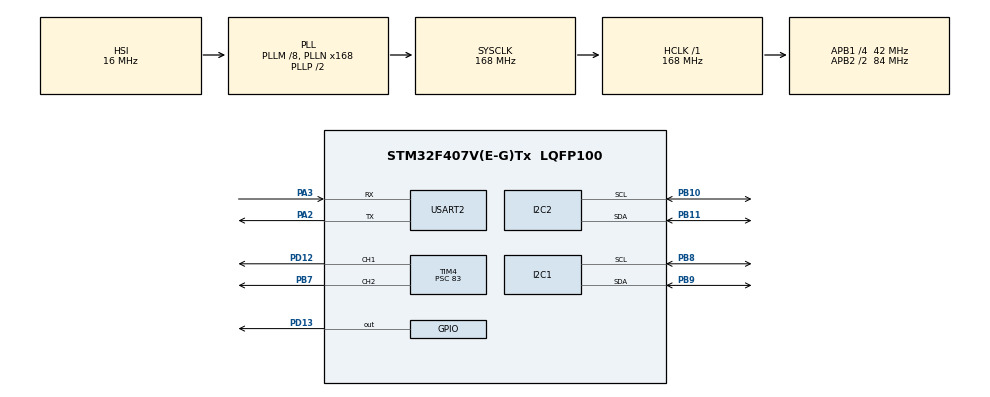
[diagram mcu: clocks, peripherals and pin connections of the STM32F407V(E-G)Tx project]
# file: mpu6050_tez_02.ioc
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I2C1.DutyCycle=I2C_DUTYCYCLE_16_9
I2C1.I2C_Mode=I2C_Fast
I2C2.DutyCycle=I2C_DUTYCYCLE_16_9
I2C2.I2C_Mode=I2C_Fast
Mcu.Family=STM32F4
Mcu.Name=STM32F407V(E-G)Tx
Mcu.Package=LQFP100
NVIC.PriorityGroup=NVIC_PRIORITYGROUP_0
PA13.Mode=Serial_Wire
PA13.Signal=SYS_JTMS-SWDIO
PA14.Mode=Serial_Wire
PA14.Signal=SYS_JTCK-SWCLK
PA2.Mode=Asynchronous
PA2.Signal=USART2_TX
PA3.Mode=Asynchronous
PA3.Signal=USART2_RX
PB10.Mode=I2C
PB10.Signal=I2C2_SCL
PB11.Mode=I2C
PB11.Signal=I2C2_SDA
PB7.Signal=S_TIM4_CH2
PB8.Mode=I2C
PB8.Signal=I2C1_SCL
PB9.Mode=I2C
PB9.Signal=I2C1_SDA
PD12.Signal=S_TIM4_CH1
PD13.Signal=GPIO_Output
PH0-OSC_IN.Mode=HSE-External-Oscillator
PH0-OSC_IN.Signal=RCC_OSC_IN
PH1-OSC_OUT.Mode=HSE-External-Oscillator
PH1-OSC_OUT.Signal=RCC_OSC_OUT
ProjectManager.HeapSize=0x200
ProjectManager.StackSize=0x400
ProjectManager.TargetToolchain=STM32CubeIDE
RCC.48MHZClocksFreq_Value=48000000
RCC.AHBFreq_Value=168000000
RCC.APB1CLKDivider=RCC_HCLK_DIV4
RCC.APB1Freq_Value=42000000
RCC.APB1TimFreq_Value=84000000
RCC.APB2CLKDivider=RCC_HCLK_DIV2
RCC.APB2Freq_Value=84000000
RCC.APB2TimFreq_Value=168000000
RCC.CortexFreq_Value=168000000
RCC.HCLKFreq_Value=168000000
RCC.HSE_VALUE=8000000
RCC.HSI_VALUE=16000000
RCC.LSE_VALUE=32768
RCC.PLLM=8
RCC.PLLN=168
RCC.PLLQ=7
RCC.SYSCLKFreq_VALUE=168000000
RCC.SYSCLKSource=RCC_SYSCLKSOURCE_PLLCLK
RCC.VCOOutputFreq_Value=336000000
SH.S_TIM4_CH1.0=TIM4_CH1,PWM Generation1 CH1
SH.S_TIM4_CH2.0=TIM4_CH2,PWM Generation2 CH2
TIM4.Channel-PWM\ Generation1\ CH1=TIM_CHANNEL_1
TIM4.Channel-PWM\ Generation2\ CH2=TIM_CHANNEL_2
TIM4.Period=19999
TIM4.Prescaler=83
USART2.VirtualMode=VM_ASYNC
board=STM32F407G-DISC1

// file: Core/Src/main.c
/* USER CODE BEGIN Header */
/**
  ******************************************************************************
  * @file           : main.c
  * @brief          : Main program body
  ******************************************************************************
  * @attention
  *
  * Copyright (c) 2022 STMicroelectronics.
  * All rights reserved.
  *
  * This software is licensed under terms that can be found in the LICENSE file
  * in the root directory of this software component.
  * If no LICENSE file comes with this software, it is provided AS-IS.
  *
  ******************************************************************************
  */
/* USER CODE END Header */
#include "main.h"

/* USER CODE BEGIN Includes */
#include "MPU6050.h"
#include <math.h>
/* USER CODE END Includes */

I2C_HandleTypeDef hi2c1;
I2C_HandleTypeDef hi2c2;

TIM_HandleTypeDef htim4;

UART_HandleTypeDef huart2;

/* USER CODE BEGIN PV */
uint32_t MAP(uint32_t au32_IN, uint32_t au32_INmin, uint32_t au32_INmax, uint32_t au32_OUTmin, uint32_t au32_OUTmax);
float cax, cay, caz, cgx, cgy, cgz;
int16_t ax, ay, az, gx, gy, gz, temp;
float temperature, gyro_roll, gyro_pitch, acc_roll, acc_pitch, acc_total_vector, angle_roll, angle_pitch;
float time, prevtime, elapsedtime;
int pulse;

float cax_2, cay_2, caz_2, cgx_2, cgy_2, cgz_2;
int16_t ax_2, ay_2, az_2, gx_2, gy_2, gz_2, temp_2;
float temperature_2, gyro_roll_2, gyro_pitch_2, acc_roll_2, acc_pitch_2, acc_total_vector_2, angle_roll_2, angle_pitch_2;
float time_2, prevtime_2, elapsedtime_2;
int pulse_2;
/* USER CODE END PV */

void SystemClock_Config(void);
static void MX_GPIO_Init(void);
static void MX_I2C1_Init(void);
static void MX_USART2_UART_Init(void);
static void MX_TIM4_Init(void);
static void MX_I2C2_Init(void);

int main(void)
{

  /* MCU Configuration--------------------------------------------------------*/

  /* Reset of all peripherals, Initializes the Flash interface and the Systick. */
  HAL_Init();

  /* Configure the system clock */
  SystemClock_Config();

  /* Initialize all configured peripherals */
  MX_GPIO_Init();
  MX_I2C1_Init();
  MX_USART2_UART_Init();
  MX_TIM4_Init();
  MX_I2C2_Init();
  /* USER CODE BEGIN 2 */
  Init(FS_SEL_500, AFS_SEL_8G, DLPF_CFG_3); // Temel ayarlamalar yapiliir. Jiroskop, ivmeölçer hassasiyeti ve filtre değeri
   Imu_Calibration(2000, &cax, &cay, &caz, &cgx, &cgy, &cgz); // kalibrasyon fonksiyonudur 2000 ölçüm yaparak ortalamasi alinir, duz zeminde yapilmasi tavsiye edilir.
   Init(FS_SEL_500, AFS_SEL_8G, DLPF_CFG_3); // Temel ayarlamalar yapiliir. Jiroskop, ivmeölçer hassasiyeti ve filtre değeri
     Imu_Calibration(2000, &cax_2, &cay_2, &caz_2, &cgx_2, &cgy_2, &cgz_2); // kalibrasyon fonksiyonudur 2000 ölçüm yaparak ortalamasi alinir, duz zeminde yapilmasi tavsiye edilir.
    HAL_TIM_PWM_Start(&htim4, TIM_CHANNEL_1);
    HAL_TIM_PWM_Start(&htim4, TIM_CHANNEL_2);
  /* USER CODE END 2 */

  /* Infinite loop */
  while (1)
  {

    /* USER CODE BEGIN 3 */

	  //Dongu baslangici ile zaman sayimina baslayan fonksiyonlardir, while dongusunun altinda diger kisimi bulunmaktadir.
	  	  prevtime = time;
	  	  time = HAL_GetTick();
	  	  elapsedtime=(time-prevtime)*1000;

	  	  //ham verileri elde etme
	  	  Imu_Raw_Values(&ax, &ay, &az, &gx, &gy, &gz, &temp);
	  	Imu_Raw_Values2(&ax_2, &ay_2, &az_2, &gx_2, &gy_2, &gz_2, &temp_2);

	  	  //gyro acilari elde etme
	  	  gyro_roll += (gx-cgx)*0.004; //4000 us == 0.004 saniye --> derece/saniye
	  	  gyro_pitch += (gy-cgy)*0.004;

	  	 gyro_roll_2 += (gx_2-cgx_2)*0.004; //4000 us == 0.004 saniye --> derece/saniye
	     gyro_pitch_2 += (gy_2-cgy_2)*0.004;
	  	  //ivmeolcer verilerinden aci elde etme - euler acilari
	  	  acc_total_vector = sqrt(ax*ax + ay*ay + az*az);
	  	 acc_total_vector_2 = sqrt(ax_2*ax_2 + ay_2*ay_2 + az_2*az_2);
	  	  //57.296 = 1 / (3.142 / 180)
	  	  acc_pitch = asin((float)ay / acc_total_vector) * 57.296;
	  	  acc_roll = asin((float)ax / acc_total_vector) * 57.296;

	  	acc_pitch_2 = asin((float)ay_2 / acc_total_vector_2) * 57.296;
	  		  	  acc_roll_2 = asin((float)ax_2 / acc_total_vector_2) * 57.296;
	  	  //ilkel tamamlayici filtre toplam kisimi
	  	  angle_pitch = angle_pitch * 0.9 + acc_pitch * 0.1;
	  	  angle_roll = angle_roll * 0.9 + acc_roll * 0.1;

		  angle_pitch_2 = angle_pitch_2 * 0.9 + acc_pitch_2 * 0.1;
		  	  angle_roll_2 = angle_roll_2 * 0.9 + acc_roll_2 * 0.1;
	  	  //sicaklik hesabi-formulsayon datasheet icerisinde mevcuttur
	  	  temperature = (temp/340.0)+36.53;
		  temperature_2 = (temp_2/340.0)+36.53;
     HAL_GPIO_WritePin(GPIOD, GPIO_PIN_13, GPIO_PIN_SET);
	  	  //tek dongu suresini 4000 us degerine sabitleyen blok
	  	  while((HAL_GetTick() - prevtime)*1000 < 4000);
	  	  prevtime = HAL_GetTick();
	pulse 	=  MAP(angle_pitch, 0, 90, 500, 2000);
	  __HAL_TIM_SET_COMPARE(&htim4,TIM_CHANNEL_1,pulse);
  }
  /* USER CODE END 3 */
}

void SystemClock_Config(void)
{
  RCC_OscInitTypeDef RCC_OscInitStruct = {0};
  RCC_ClkInitTypeDef RCC_ClkInitStruct = {0};

  /** Configure the main internal regulator output voltage
  */
  __HAL_RCC_PWR_CLK_ENABLE();
  __HAL_PWR_VOLTAGESCALING_CONFIG(PWR_REGULATOR_VOLTAGE_SCALE1);

  /** Initializes the RCC Oscillators according to the specified parameters
  * in the RCC_OscInitTypeDef structure.
  */
  RCC_OscInitStruct.OscillatorType = RCC_OSCILLATORTYPE_HSI;
  RCC_OscInitStruct.HSIState = RCC_HSI_ON;
  RCC_OscInitStruct.HSICalibrationValue = RCC_HSICALIBRATION_DEFAULT;
  RCC_OscInitStruct.PLL.PLLState = RCC_PLL_ON;
  RCC_OscInitStruct.PLL.PLLSource = RCC_PLLSOURCE_HSI;
  RCC_OscInitStruct.PLL.PLLM = 8;
  RCC_OscInitStruct.PLL.PLLN = 168;
  RCC_OscInitStruct.PLL.PLLP = RCC_PLLP_DIV2;
  RCC_OscInitStruct.PLL.PLLQ = 7;
  if (HAL_RCC_OscConfig(&RCC_OscInitStruct) != HAL_OK)
  {
    Error_Handler();
  }

  /** Initializes the CPU, AHB and APB buses clocks
  */
  RCC_ClkInitStruct.ClockType = RCC_CLOCKTYPE_HCLK|RCC_CLOCKTYPE_SYSCLK
                              |RCC_CLOCKTYPE_PCLK1|RCC_CLOCKTYPE_PCLK2;
  RCC_ClkInitStruct.SYSCLKSource = RCC_SYSCLKSOURCE_PLLCLK;
  RCC_ClkInitStruct.AHBCLKDivider = RCC_SYSCLK_DIV1;
  RCC_ClkInitStruct.APB1CLKDivider = RCC_HCLK_DIV4;
  RCC_ClkInitStruct.APB2CLKDivider = RCC_HCLK_DIV2;

  if (HAL_RCC_ClockConfig(&RCC_ClkInitStruct, FLASH_LATENCY_5) != HAL_OK)
  {
    Error_Handler();
  }
}

static void MX_I2C1_Init(void)
{

  hi2c1.Instance = I2C1;
  hi2c1.Init.ClockSpeed = 400000;
  hi2c1.Init.DutyCycle = I2C_DUTYCYCLE_16_9;
  hi2c1.Init.OwnAddress1 = 0;
  hi2c1.Init.AddressingMode = I2C_ADDRESSINGMODE_7BIT;
  hi2c1.Init.DualAddressMode = I2C_DUALADDRESS_DISABLE;
  hi2c1.Init.OwnAddress2 = 0;
  hi2c1.Init.GeneralCallMode = I2C_GENERALCALL_DISABLE;
  hi2c1.Init.NoStretchMode = I2C_NOSTRETCH_DISABLE;
  if (HAL_I2C_Init(&hi2c1) != HAL_OK)
  {
    Error_Handler();
  }

}

static void MX_I2C2_Init(void)
{

  hi2c2.Instance = I2C2;
  hi2c2.Init.ClockSpeed = 400000;
  hi2c2.Init.DutyCycle = I2C_DUTYCYCLE_16_9;
  hi2c2.Init.OwnAddress1 = 0;
  hi2c2.Init.AddressingMode = I2C_ADDRESSINGMODE_7BIT;
  hi2c2.Init.DualAddressMode = I2C_DUALADDRESS_DISABLE;
  hi2c2.Init.OwnAddress2 = 0;
  hi2c2.Init.GeneralCallMode = I2C_GENERALCALL_DISABLE;
  hi2c2.Init.NoStretchMode = I2C_NOSTRETCH_DISABLE;
  if (HAL_I2C_Init(&hi2c2) != HAL_OK)
  {
    Error_Handler();
  }

}

static void MX_TIM4_Init(void)
{

  TIM_MasterConfigTypeDef sMasterConfig = {0};
  TIM_OC_InitTypeDef sConfigOC = {0};

  htim4.Instance = TIM4;
  htim4.Init.Prescaler = 83;
  htim4.Init.CounterMode = TIM_COUNTERMODE_UP;
  htim4.Init.Period = 19999;
  htim4.Init.ClockDivision = TIM_CLOCKDIVISION_DIV1;
  htim4.Init.AutoReloadPreload = TIM_AUTORELOAD_PRELOAD_DISABLE;
  if (HAL_TIM_PWM_Init(&htim4) != HAL_OK)
  {
    Error_Handler();
  }
  sMasterConfig.MasterOutputTrigger = TIM_TRGO_RESET;
  sMasterConfig.MasterSlaveMode = TIM_MASTERSLAVEMODE_DISABLE;
  if (HAL_TIMEx_MasterConfigSynchronization(&htim4, &sMasterConfig) != HAL_OK)
  {
    Error_Handler();
  }
  sConfigOC.OCMode = TIM_OCMODE_PWM1;
  sConfigOC.Pulse = 0;
  sConfigOC.OCPolarity = TIM_OCPOLARITY_HIGH;
  sConfigOC.OCFastMode = TIM_OCFAST_DISABLE;
  if (HAL_TIM_PWM_ConfigChannel(&htim4, &sConfigOC, TIM_CHANNEL_1) != HAL_OK)
  {
    Error_Handler();
  }
  if (HAL_TIM_PWM_ConfigChannel(&htim4, &sConfigOC, TIM_CHANNEL_2) != HAL_OK)
  {
    Error_Handler();
  }
  HAL_TIM_MspPostInit(&htim4);

}

static void MX_USART2_UART_Init(void)
{

  huart2.Instance = USART2;
  huart2.Init.BaudRate = 115200;
  huart2.Init.WordLength = UART_WORDLENGTH_8B;
  huart2.Init.StopBits = UART_STOPBITS_1;
  huart2.Init.Parity = UART_PARITY_NONE;
  huart2.Init.Mode = UART_MODE_TX_RX;
  huart2.Init.HwFlowCtl = UART_HWCONTROL_NONE;
  huart2.Init.OverSampling = UART_OVERSAMPLING_16;
  if (HAL_UART_Init(&huart2) != HAL_OK)
  {
    Error_Handler();
  }

}

static void MX_GPIO_Init(void)
{
  GPIO_InitTypeDef GPIO_InitStruct = {0};

  /* GPIO Ports Clock Enable */
  __HAL_RCC_GPIOH_CLK_ENABLE();
  __HAL_RCC_GPIOA_CLK_ENABLE();
  __HAL_RCC_GPIOB_CLK_ENABLE();
  __HAL_RCC_GPIOD_CLK_ENABLE();

  /*Configure GPIO pin Output Level */
  HAL_GPIO_WritePin(GPIOD, GPIO_PIN_13, GPIO_PIN_RESET);

  /*Configure GPIO pin : PD13 */
  GPIO_InitStruct.Pin = GPIO_PIN_13;
  GPIO_InitStruct.Mode = GPIO_MODE_OUTPUT_PP;
  GPIO_InitStruct.Pull = GPIO_NOPULL;
  GPIO_InitStruct.Speed = GPIO_SPEED_FREQ_LOW;
  HAL_GPIO_Init(GPIOD, &GPIO_InitStruct);

}

/* USER CODE BEGIN 4 */

uint32_t MAP(uint32_t au32_IN, uint32_t au32_INmin, uint32_t au32_INmax, uint32_t au32_OUTmin, uint32_t au32_OUTmax)
{
    return ((((au32_IN - au32_INmin)*(au32_OUTmax - au32_OUTmin))/(au32_INmax - au32_INmin)) + au32_OUTmin);
}

/* USER CODE END 4 */

void Error_Handler(void)
{
  __disable_irq();
  while (1)
  {
  }
}
